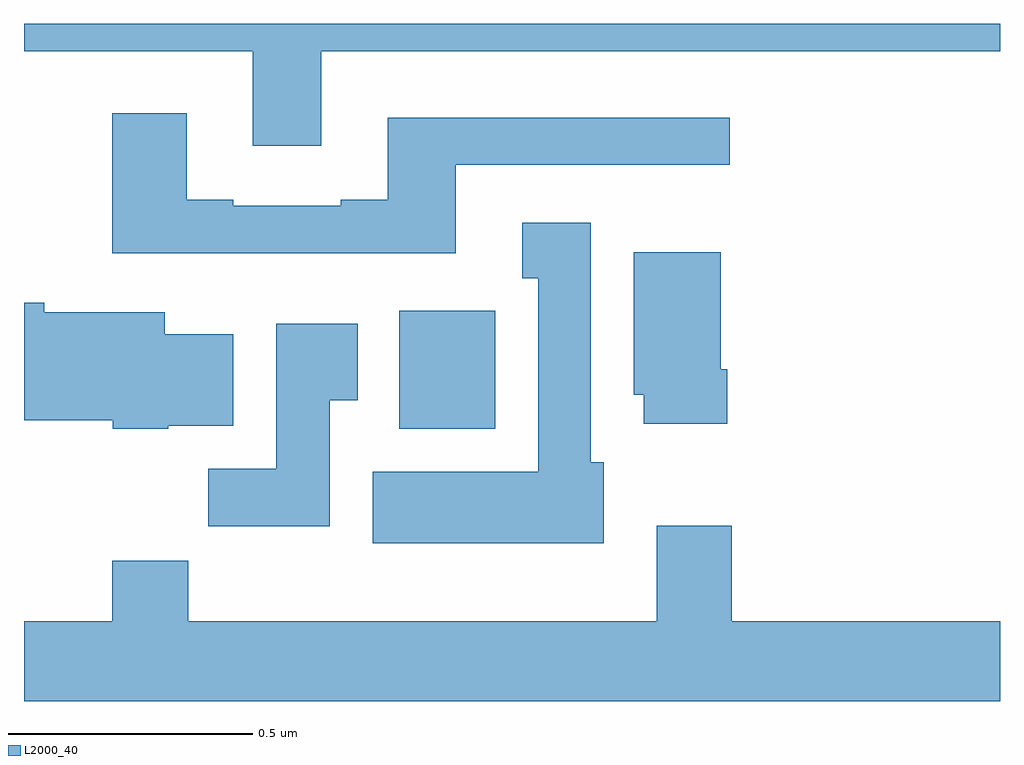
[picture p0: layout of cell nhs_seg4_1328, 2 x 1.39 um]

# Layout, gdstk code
import gdstk
lib = gdstk.Library(unit=1e-6, precision=1e-09)
def R(c, l, rs):  # rectangles x0, y0, x1, y1
    for r in rs: c.add(gdstk.rectangle(r[:2], r[2:], *l))
def P(c, l, *ps):  # polygons
    for p in ps: c.add(gdstk.Polygon(p, *l))
L2000_40 = (2000, 40)

nhs_seg4_1328 = lib.new_cell('nhs_seg4_1328')
R(nhs_seg4_1328, L2000_40, [(127.769,772.07,127.966,772.312)])
P(nhs_seg4_1328, L2000_40, [(127.609,772.844),(129,772.844),(129,772.9),(127,772.9),(127,772.844),(127.469,772.844),(127.469,772.65),(127.609,772.65)],
  [(127.885,772.611),(128.446,772.611),(128.446,772.708),(127.745,772.708),(127.745,772.54),(127.649,772.54),(127.649,772.527),(127.429,772.527),(127.429,772.54),(127.333,772.54),(127.333,772.717),(127.181,772.717),(127.181,772.43),(127.885,772.43)],
  [(128.188,772.002),(128.161,772.002),(128.161,772.492),(128.021,772.492),(128.021,772.379),(128.054,772.379),(128.054,771.982),(127.715,771.982),(127.715,771.836),(128.188,771.836)],
  [(128.441,772.192),(128.428,772.192),(128.428,772.432),(128.249,772.432),(128.249,772.14),(128.27,772.14),(128.27,772.08),(128.441,772.08)],
  [(127.296,772.076),(127.429,772.076),(127.429,772.264),(127.288,772.264),(127.288,772.309),(127.042,772.309),(127.042,772.328),(127,772.328),(127,772.088),(127.182,772.088),(127.182,772.07),(127.296,772.07)],
  [(127.627,772.129),(127.684,772.129),(127.684,772.285),(127.517,772.285),(127.517,771.988),(127.378,771.988),(127.378,771.87),(127.627,771.87)],
  [(129,771.676),(128.45,771.676),(128.45,771.871),(128.297,771.871),(128.297,771.676),(127.337,771.676),(127.337,771.8),(127.181,771.8),(127.181,771.676),(127,771.676),(127,771.512),(129,771.512)])

lib.write_gds('nhs_seg4_1328.gds')
